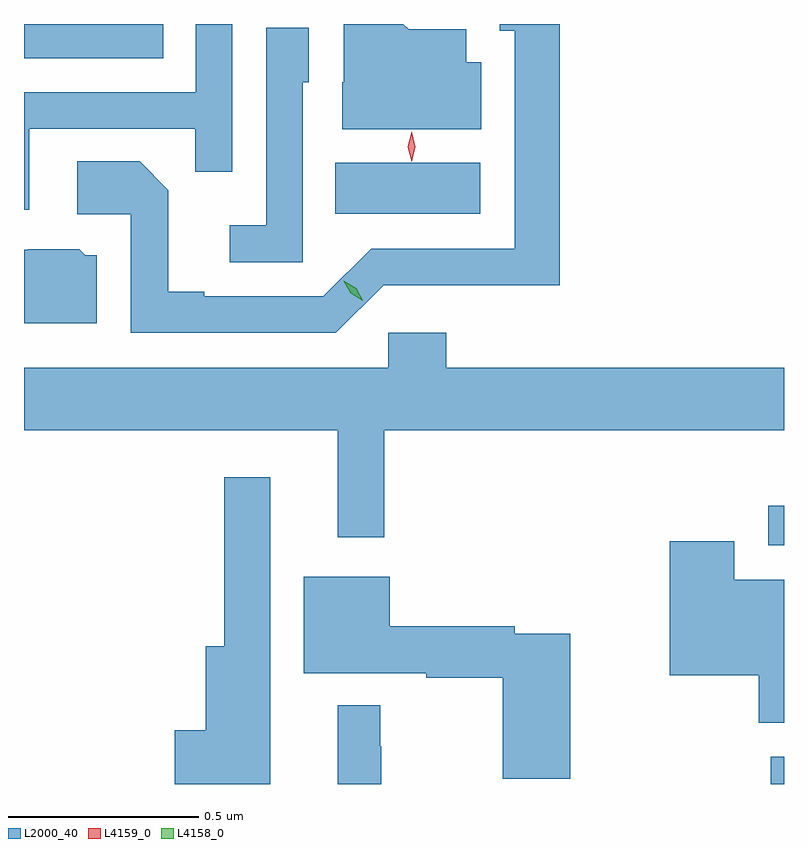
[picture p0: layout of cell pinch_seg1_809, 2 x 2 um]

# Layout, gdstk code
import gdstk
lib = gdstk.Library(unit=1e-6, precision=1e-09)
def R(c, l, rs):  # rectangles x0, y0, x1, y1
    for r in rs: c.add(gdstk.rectangle(r[:2], r[2:], *l))
def P(c, l, *ps):  # polygons
    for p in ps: c.add(gdstk.Polygon(p, *l))
L2000_40 = (2000, 40)
L4158_0 = (4158, 0)
L4159_0 = (4159, 0)

pinch_seg1_809 = lib.new_cell('pinch_seg1_809')
R(pinch_seg1_809, L2000_40, [(374.722,573.445,374.757,573.517), (374.715,574.073,374.757,574.177), (373.576,574.946,373.957,575.08), (372.757,575.355,373.124,575.445)])
P(pinch_seg1_809, L2000_40, [(373.96,575.344),(373.921,575.344),(373.921,575.431),(373.769,575.431),(373.755,575.445),(373.599,575.445),(373.599,575.292),(373.595,575.292),(373.595,575.168),(373.96,575.168)],
  [(372.771,575.169),(373.207,575.169),(373.207,575.056),(373.305,575.056),(373.305,575.445),(373.209,575.445),(373.209,575.265),(372.757,575.265),(372.757,574.956),(372.771,574.956)],
  [(373.704,574.758),(373.926,574.758),(373.926,574.757),(374.167,574.757),(374.167,575.445),(374.009,575.445),(374.009,575.427),(374.048,575.427),(374.048,574.854),(373.671,574.854),(373.545,574.728),(373.231,574.728),(373.231,574.741),(373.137,574.741),(373.137,575.008),(373.061,575.084),(372.897,575.084),(372.897,574.944),(373.038,574.944),(373.038,574.632),(373.578,574.632)],
  [(373.491,575.292),(373.506,575.292),(373.506,575.435),(373.395,575.435),(373.395,574.915),(373.299,574.915),(373.299,574.818),(373.491,574.818)],
  [(372.949,574.836),(372.918,574.836),(372.902,574.852),(372.768,574.852),(372.768,574.851),(372.757,574.851),(372.757,574.658),(372.949,574.658)],
  [(373.705,574.376),(374.757,574.376),(374.757,574.54),(373.868,574.54),(373.868,574.633),(373.716,574.633),(373.716,574.54),(372.757,574.54),(372.757,574.376),(373.583,574.376),(373.583,574.095),(373.705,574.095)],
  [(373.405,574.252),(373.284,574.252),(373.284,573.808),(373.235,573.808),(373.235,573.586),(373.154,573.586),(373.154,573.445),(373.405,573.445)],
  [(374.757,573.982),(374.626,573.982),(374.626,574.084),(374.456,574.084),(374.456,573.731),(374.69,573.731),(374.69,573.606),(374.757,573.606)],
  [(374.195,573.84),(374.048,573.84),(374.048,573.86),(373.72,573.86),(373.72,573.991),(373.493,573.991),(373.493,573.737),(373.816,573.737),(373.816,573.724),(374.017,573.724),(374.017,573.459),(374.195,573.459)],
  [(373.697,573.545),(373.694,573.545),(373.694,573.652),(373.583,573.652),(373.583,573.445),(373.697,573.445)])
P(pinch_seg1_809, L4158_0, [(373.649,574.717),(373.617,574.736),(373.599,574.768),(373.599,574.769),(373.599,574.769),(373.631,574.75),(373.649,574.718),(373.649,574.717)])
P(pinch_seg1_809, L4159_0, [(373.777,575.083),(373.777,575.083),(373.767,575.122),(373.777,575.161),(373.777,575.162),(373.777,575.161),(373.787,575.122),(373.778,575.083)])

lib.write_gds('pinch_seg1_809.gds')
